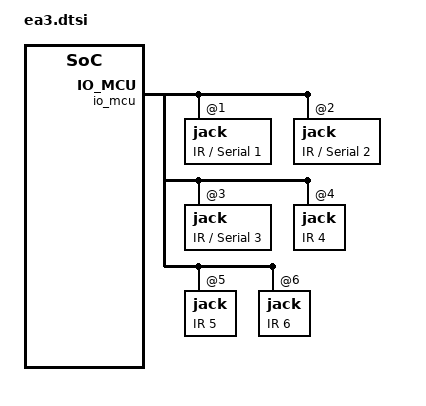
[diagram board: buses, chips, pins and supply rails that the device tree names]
// SPDX-License-Identifier: GPL-2.0
/* Control4 EA-3 (both board revisions). */
#include "ea.dtsi"

#define EA_LINE_80	"ac_pwr"

/* Six IR jacks; IR 1-3 double as serial ports 1-3. */
&io_mcu {
	control4,relays = <1>;
	control4,contacts = <1>;
	control4,ir-blaster;
	control4,ir-receiver;

	jack@1 {
		reg = <1>;
		label = "IR / Serial 1";
		control4,ir-channel = <0>;
		control4,uart = <0>;
	};
	jack@2 {
		reg = <2>;
		label = "IR / Serial 2";
		control4,ir-channel = <1>;
		control4,uart = <1>;
	};
	jack@3 {
		reg = <3>;
		label = "IR / Serial 3";
		control4,ir-channel = <2>;
		control4,uart = <2>;
	};
	jack@4 {
		reg = <4>;
		label = "IR 4";
		control4,ir-channel = <3>;
	};
	jack@5 {
		reg = <5>;
		label = "IR 5";
		control4,ir-channel = <4>;
	};
	jack@6 {
		reg = <6>;
		label = "IR 6";
		control4,ir-channel = <5>;
	};
};
